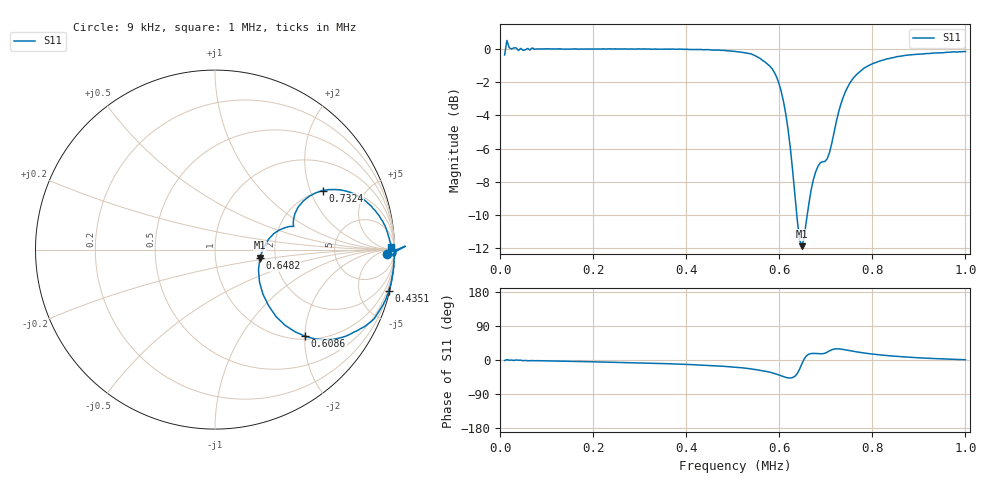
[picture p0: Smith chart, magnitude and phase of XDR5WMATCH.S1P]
!Agilent Technologies,E5071C,MY46100305,A.07.02
!Date: Fri Jan 01 00:55:03 1988
!Data & Calibration Information:
!Freq	S11:SOLT1(ON)
# Hz S MA R 50
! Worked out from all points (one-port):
!   201 points, 9 kHz to 1 MHz, reference 50 ohm
!   lowest |S11| = -11.9 dB at 648.2 kHz (marker M1), VSWR 1.68, Z = 83 - j8.13 ohm
!   |S11| at or under -10 dB: 637.4 kHz to 659.8 kHz (22.4 kHz wide, 3.45 % of centre)
!   S11 on the Smith chart (normalised r, x): 9 kHz: 36, -21; 435.1 kHz: 0.20, -8.46; 608.6 kHz: 1.07, -2.01; 648.2 kHz: 1.66, -0.16; 732.4 kHz: 1.98, +2.45; 1 MHz: 73, +54
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9000  0.9593 -1.4
13955  1.061 1.0
18910  1.008 -0.6
38730  0.9895 -0.5
132875  0.9989 -3.1
256750  1 -6.3
380625  0.9981 -10.7
435130  0.9944 -13.5
504500  0.983 -18.9
539185  0.9665 -23.5
573870  0.9013 -30.6
588735  0.852 -35.3
608555  0.6973 -43.8
618465  0.5739 -47.2
628375  0.4317 -46.3
643240  0.2666 -24.6
648195  0.2548 -10.4
658105  0.3045 11.0
672970  0.4035 17.4
687835  0.454 16.4
697745  0.4584 17.9
712610  0.5195 27.0
732430  0.6842 28.8
752250  0.7925 24.5
781980  0.8755 18.5
801800  0.9049 15.4
876125  0.9582 7.6
1000000  0.9824 0.7
